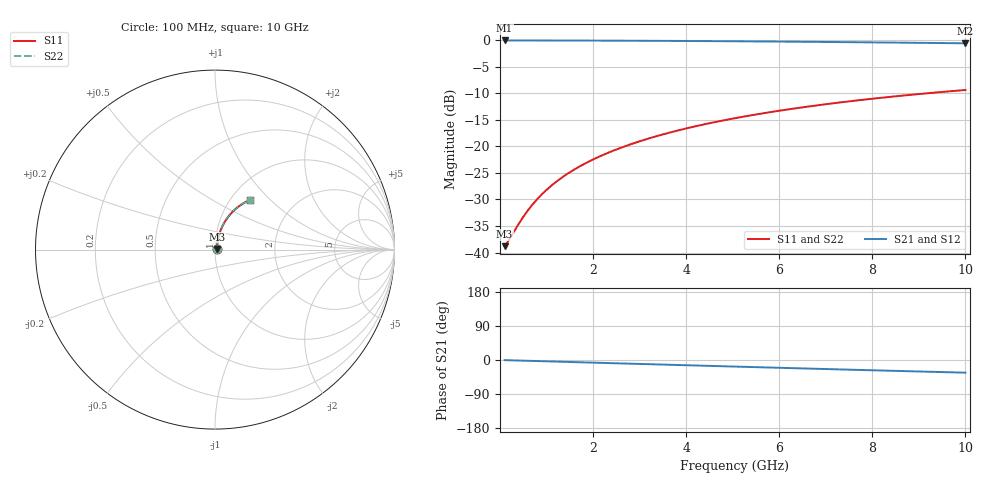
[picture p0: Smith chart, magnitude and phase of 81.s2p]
# Hz S RI R 50.00
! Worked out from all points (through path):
!   100 points, 100 MHz to 10 GHz, reference 50 ohm
!   highest |S21| = -0.10 dB at 100 MHz (marker M1); lowest = -0.6 dB at 10 GHz (marker M2)
!   group delay of S21, straight-line fit = 9.31 ps
!   lowest |S11| = -38.8 dB at 100 MHz (marker M3), VSWR 1.02, Z = 51.1 + j0.375 ohm
!   |S11| at or under -10 dB: start of sweep to 9.217 GHz
!   |S22| runs from -38.8 to -9.4 dB; largest |S21 - S12| = 0
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1e8  0.0109 0.00367  0.9891 -0.006  0.9891 -0.006  0.0109 0.00367
2e8  0.011 0.00733  0.9889 -0.012  0.9889 -0.012  0.011 0.00733
4e8  0.0114 0.0146  0.9885 -0.024  0.9885 -0.024  0.0114 0.0146
5e8  0.0116 0.0183  0.9883 -0.03  0.9883 -0.03  0.0116 0.0183
6e8  0.0119 0.022  0.988 -0.036  0.988 -0.036  0.0119 0.022
7e8  0.0122 0.0256  0.9876 -0.042  0.9876 -0.042  0.0122 0.0256
9e8  0.013 0.0329  0.9868 -0.0539  0.9868 -0.0539  0.013 0.0329
1.1e9  0.0139 0.0401  0.9857 -0.0659  0.9857 -0.0659  0.0139 0.0401
1.3e9  0.015 0.0474  0.9845 -0.0778  0.9845 -0.0778  0.015 0.0474
1.5e9  0.0163 0.0546  0.983 -0.0896  0.983 -0.0896  0.0163 0.0546
1.8e9  0.0185 0.0653  0.9805 -0.1074  0.9805 -0.1074  0.0185 0.0653
2.1e9  0.0211 0.0759  0.9776 -0.125  0.9776 -0.125  0.0211 0.0759
2.5e9  0.0252 0.0899  0.973 -0.1484  0.973 -0.1484  0.0252 0.0899
2.9e9  0.0299 0.1036  0.9677 -0.1715  0.9677 -0.1715  0.0299 0.1036
3.4e9  0.0367 0.1203  0.9601 -0.1999  0.9601 -0.1999  0.0367 0.1203
4.2e9  0.0495 0.146  0.9455 -0.2444  0.9455 -0.2444  0.0495 0.146
5.1e9  0.0666 0.1731  0.9261 -0.2927  0.9261 -0.2927  0.0666 0.1731
5.9e9  0.0839 0.1953  0.9063 -0.3337  0.9063 -0.3337  0.0839 0.1953
6.7e9  0.103 0.2156  0.8843 -0.3729  0.8843 -0.3729  0.103 0.2156
7.5e9  0.1237 0.2338  0.8604 -0.41  0.8604 -0.41  0.1237 0.2338
8.4e9  0.1484 0.2516  0.8316 -0.4493  0.8316 -0.4493  0.1484 0.2516
1e10  0.1952 0.2764  0.7762 -0.5122  0.7762 -0.5122  0.1952 0.2764
